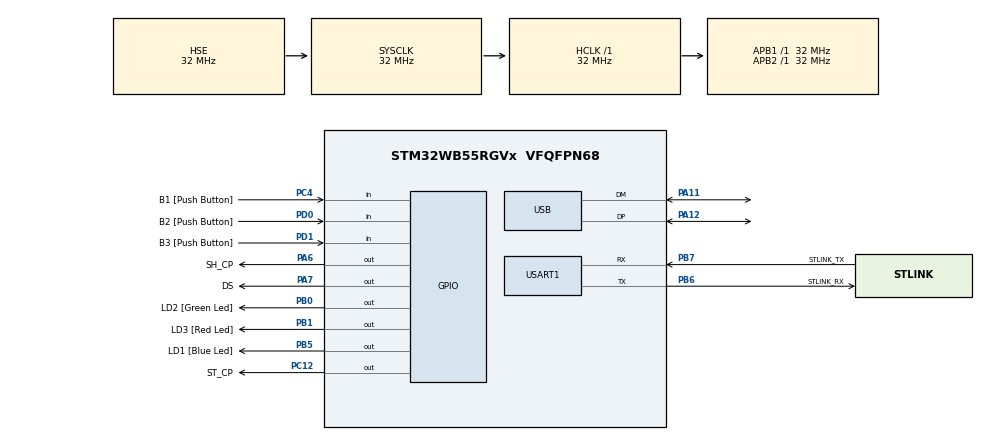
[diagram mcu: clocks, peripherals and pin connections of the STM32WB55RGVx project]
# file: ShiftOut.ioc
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Mcu.Family=STM32WB
Mcu.Name=STM32WB55RGVx
Mcu.Package=VFQFPN68
NVIC.PriorityGroup=NVIC_PRIORITYGROUP_4
NVIC.TIM1_UP_TIM16_IRQn=true\:0\:0\:false\:false\:true\:false\:true
NVIC.TimeBase=TIM1_UP_TIM16_IRQn
NVIC.TimeBaseIP=TIM1
NVIC.USART1_IRQn=true\:0\:0\:false\:false\:true\:true\:true
OSC_IN.Mode=HSE-External-Oscillator
OSC_IN.Signal=RCC_OSC_IN
OSC_OUT.Mode=HSE-External-Oscillator
OSC_OUT.Signal=RCC_OSC_OUT
PA11.Mode=Device
PA11.Signal=USB_DM
PA12.Mode=Device
PA12.Signal=USB_DP
PA13.GPIO_Label=JTMS
PA13.Mode=Trace_Asynchronous_SW
PA13.Signal=SYS_JTMS-SWDIO
PA14.GPIO_Label=JTCK
PA14.Mode=Trace_Asynchronous_SW
PA14.Signal=SYS_JTCK-SWCLK
PA6.GPIO_Label=SH_CP
PA6.Signal=GPIO_Output
PA7.GPIO_Label=DS
PA7.Signal=GPIO_Output
PB0.GPIO_Label=LD2 [Green Led]
PB0.Signal=GPIO_Output
PB1.GPIO_Label=LD3 [Red Led]
PB1.Signal=GPIO_Output
PB3.GPIO_Label=JTDO
PB3.Mode=Trace_Asynchronous_SW
PB3.Signal=SYS_JTDO-SWO
PB5.GPIO_Label=LD1 [Blue Led]
PB5.Signal=GPIO_Output
PB6.GPIO_Label=STLINK_RX
PB6.Mode=Asynchronous
PB6.Signal=USART1_TX
PB7.GPIO_Label=STLINK_TX
PB7.Mode=Asynchronous
PB7.Signal=USART1_RX
PC12.GPIO_Label=ST_CP
PC12.Signal=GPIO_Output
PC13.Mode=SYS_WakeUp1
PC13.Signal=SYS_WKUP2
PC14-OSC32_IN.Mode=LSE-External-Oscillator
PC14-OSC32_IN.Signal=RCC_OSC32_IN
PC15-OSC32_OUT.Mode=LSE-External-Oscillator
PC15-OSC32_OUT.Signal=RCC_OSC32_OUT
PC4.GPIO_Label=B1 [Push Button]
PC4.Signal=GPIO_Input
PD0.GPIO_Label=B2 [Push Button]
PD0.Signal=GPIO_Input
PD1.GPIO_Label=B3 [Push Button]
PD1.Signal=GPIO_Input
ProjectManager.HeapSize=0x200
ProjectManager.StackSize=0x400
ProjectManager.TargetToolchain=TrueSTUDIO
RCC.ADCFreq_Value=48000000
RCC.AHBFreq_Value=32000000
RCC.APB1Freq_Value=32000000
RCC.APB1TimFreq_Value=32000000
RCC.APB2Freq_Value=32000000
RCC.APB2TimFreq_Value=32000000
RCC.APB3Freq_Value=16000000
RCC.CortexFreq_Value=32000000
RCC.HCLKFreq_Value=32000000
RCC.HSE_VALUE=32000000
RCC.HSI48_VALUE=48000000
RCC.HSI_VALUE=16000000
RCC.PLLN=32
RCC.PLLSAI1N=24
RCC.SMPSCLockSelectionVirtual=RCC_SMPSCLKSOURCE_HSI
RCC.SYSCLKFreq_VALUE=32000000
RCC.SYSCLKSource=RCC_SYSCLKSOURCE_HSE
RCC.USBFreq_Value=48000000
RCC.VCOOutputFreq_Value=128000000
USART1.AutoBaudRateEnableParam=UART_ADVFEATURE_AUTOBAUDRATE_DISABLE
USART1.VirtualMode-Asynchronous=VM_ASYNC
USART1.WordLength=WORDLENGTH_8B
VP_SYS_VS_tim1.Mode=TIM1
board=P-NUCLEO-WB55-Nucleo

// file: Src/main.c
/* USER CODE BEGIN Header */
/**
 ******************************************************************************
 * @file           : main.c
 * @brief          : Main program body
 ******************************************************************************
 * @attention
 *
 * <h2><center>&copy; Copyright (c) 2019 STMicroelectronics.
 * All rights reserved.</center></h2>
 *
 * This software component is licensed by ST under BSD 3-Clause license,
 * the "License"; You may not use this file except in compliance with the
 * License. You may obtain a copy of the License at:
 *                        opensource.org/licenses/BSD-3-Clause
 *
 ******************************************************************************
 */
/* USER CODE END Header */

#include "main.h"

/* USER CODE BEGIN Includes */
#include <stdio.h>
#include <stdlib.h>
/* USER CODE END Includes */

/* USER CODE BEGIN PD */

#define HIGH		GPIO_PIN_SET
#define LOW     GPIO_PIN_RESET

/* USER CODE END PD */

UART_HandleTypeDef huart1;

PCD_HandleTypeDef hpcd_USB_FS;

/* USER CODE BEGIN PV */
#define LSBFIRST 0
#define MSBFIRST 1

const int latch_pin = 8; 	// (ST_CP)
const int clock_pin = 12;	// (SH_CP)
const int data_pin = 11;	// (DS)

/* USER CODE END PV */

void SystemClock_Config(void);
static void MX_GPIO_Init(void);
static void MX_USART1_UART_Init(void);
static void MX_USB_PCD_Init(void);

/* USER CODE BEGIN 0 */

int __io_putchar(int ch) {
	uint8_t c[1];
	c[0] = ch & 0x00FF;
	HAL_UART_Transmit(&huart1, &*c, 1, 10);
	return ch;
}

struct digitalPinEntry {
	GPIO_TypeDef * port;
	uint16_t pin;
};

struct digitalPinEntry arduinoPinTable[] = { { GPIOA, GPIO_PIN_3 },				// D0
		{ GPIOA, GPIO_PIN_2 },							// D1
		{ GPIOC, GPIO_PIN_6 },							// D2
		{ GPIOA, GPIO_PIN_10 },							// D3
		{ GPIOC, GPIO_PIN_10 }, 						// D4
		{ GPIOA, GPIO_PIN_15 },							// D5
		{ GPIOA, GPIO_PIN_8 },							// D6
		{ GPIOC, GPIO_PIN_13 },							// D7

		{ GPIOC, GPIO_PIN_12 },							// D8
		{ GPIOA, GPIO_PIN_9 },							// D9
		{ GPIOA, GPIO_PIN_4 },							// D10
		{ GPIOA, GPIO_PIN_7 },							// D11
		{ GPIOA, GPIO_PIN_6 },							// D12
		{ GPIOA, GPIO_PIN_5 },							// D13
		{ GPIOB, GPIO_PIN_9 },							// D14
		{ GPIOB, GPIO_PIN_8 },							// D15
		};

void digitalWrite(int pin, int value) {
	HAL_GPIO_WritePin(arduinoPinTable[pin].port, arduinoPinTable[pin].pin, value);
}

/**
 * Shift data out to the shift-register
 *
 * Uses globals 'data_pin' and 'clock_pin'
 */
void shiftOut(uint8_t bitOrder, uint8_t val) {
	uint8_t i;

	for (i = 0; i < 8; i++) {
		if (bitOrder == LSBFIRST)
			digitalWrite(data_pin, !!(val & (1 << i)));
		else
			digitalWrite(data_pin, !!(val & (1 << (7 - i))));

		digitalWrite(clock_pin, HIGH);
		digitalWrite(clock_pin, LOW);
	}
}

void write_value(uint8_t value) {
	digitalWrite(latch_pin, LOW);
	shiftOut(MSBFIRST, value);
	digitalWrite(latch_pin, HIGH);
}

void shiftUp() {
	int i;
	int count = rand() % 10 + 4;
	LOG_MSG("%s\n", "shiftUp()");
	for (int x = 0 ; x < count ; x++) {
		for (i = 0; i <= 7; i++) {
			uint8_t m = (1L << i);
			write_value(m);
			HAL_Delay(100);
		}
	}
}

void shiftDown() {
	int i;
	int count = rand() % 10 + 4;
	LOG_MSG("%s\n", "shiftDown()");

	for (int x = 0 ; x < count ; x++) {
		for (i = 7; i >=  0; i--) {
			uint8_t m = (1L << i);
			write_value(m);
			HAL_Delay(100);
		}
	}
}

void randomPattern() {
	int count = (rand() % 10) + 10;
	int delay = 100 + (rand() % 8) * 100;
	LOG_MSG("%s\n", "randomPattern()");

	for (int i = 0; i < count; i++) {
		int pattern = rand() % 255;
		write_value(pattern);
		HAL_Delay(delay);
	}
}

void pinchIn() {
	int count = rand() % 10 + 4;
	LOG_MSG("%s\n", "pinchIn()");

	for (int j = 0; j < count; j++) {
		for (int i = 0; i < 4; i++) {
			uint8_t mask = (1L << (7 - i)) | ((1L << i));
			write_value(mask);
			HAL_Delay(100);
		}
	}
}
void pinchOut() {
	int count = rand() % 10 + 4;
	LOG_MSG("%s\n", "pinchOut()");

	for (int j = 0; j < count; j++) {
		for (int i = 3; i >= 0 ; i--) {
			uint8_t mask = (1L << (7 - i)) | ((1L << i));
			write_value(mask);
			HAL_Delay(100);
		}
	}
}

void displaySequence(int * data, size_t count) {
	int delay = 100 + (rand() % 8) * 100;
	int repeat = rand() % 10 + 4;
	for (int j = 0; j < repeat; j++) {
		for (int i = 0 ; i < count ; i++) {
			write_value(data[i]);
			HAL_Delay(delay);
		}
	}
}

void fillOut() {
	LOG_MSG("%s\n", "fillOut()");
	int masks[] = {
		0x18, // 00011000
		0x3c, // 00111100
		0x7e, // 01111110
		0xff, // 11111111
	};

	displaySequence(masks, sizeof(masks)/sizeof(int));
}

void fillIn() {
	LOG_MSG("%s\n", "fillIn()");

	int masks[] = {
		0x81, // 10000001
		0xc3, // 11000011
		0xe7, // 11100111
		0xff, // 11111111
	};
	displaySequence(masks, sizeof(masks)/sizeof(int));
}

/* USER CODE END 0 */

int main(void)
{

  /* MCU Configuration--------------------------------------------------------*/

  /* Reset of all peripherals, Initializes the Flash interface and the Systick. */
  HAL_Init();

  /* Configure the system clock */
  SystemClock_Config();

  /* Initialize all configured peripherals */
  MX_GPIO_Init();
  MX_USART1_UART_Init();
  MX_USB_PCD_Init();

  /* Infinite loop */
  /* USER CODE BEGIN WHILE */
	LOG_MSG("%s\n", "Starting main loop...");

	while (1) {
    /* USER CODE END WHILE */

    /* USER CODE BEGIN 3 */

		int c = rand() % 7;

		switch (c) {
		case 0:
			shiftUp();
			break;
		case 1:
			randomPattern();
			break;
		case 2:
			pinchIn();
			break;
		case 3:
			pinchOut();
			break;
		case 4:
			shiftDown();
			break;
		case 5:
			fillIn();
			break;
		case 6:
			fillOut();
			break;
		}
	}
  /* USER CODE END 3 */
}

void SystemClock_Config(void)
{
  RCC_OscInitTypeDef RCC_OscInitStruct = {0};
  RCC_ClkInitTypeDef RCC_ClkInitStruct = {0};
  RCC_PeriphCLKInitTypeDef PeriphClkInitStruct = {0};

  /** Macro to configure the PLL multiplication factor
  */
  __HAL_RCC_PLL_PLLM_CONFIG(RCC_PLLM_DIV1);
  /** Macro to configure the PLL clock source
  */
  __HAL_RCC_PLL_PLLSOURCE_CONFIG(RCC_PLLSOURCE_MSI);
  /** Configure LSE Drive Capability
  */
  __HAL_RCC_LSEDRIVE_CONFIG(RCC_LSEDRIVE_LOW);
  /** Configure the main internal regulator output voltage
  */
  __HAL_PWR_VOLTAGESCALING_CONFIG(PWR_REGULATOR_VOLTAGE_SCALE1);
  /** Initializes the CPU, AHB and APB busses clocks
  */
  RCC_OscInitStruct.OscillatorType = RCC_OSCILLATORTYPE_HSI|RCC_OSCILLATORTYPE_HSE
                              |RCC_OSCILLATORTYPE_LSE|RCC_OSCILLATORTYPE_MSI;
  RCC_OscInitStruct.HSEState = RCC_HSE_ON;
  RCC_OscInitStruct.LSEState = RCC_LSE_ON;
  RCC_OscInitStruct.HSIState = RCC_HSI_ON;
  RCC_OscInitStruct.MSIState = RCC_MSI_ON;
  RCC_OscInitStruct.HSICalibrationValue = RCC_HSICALIBRATION_DEFAULT;
  RCC_OscInitStruct.MSICalibrationValue = RCC_MSICALIBRATION_DEFAULT;
  RCC_OscInitStruct.MSIClockRange = RCC_MSIRANGE_6;
  RCC_OscInitStruct.PLL.PLLState = RCC_PLL_NONE;
  if (HAL_RCC_OscConfig(&RCC_OscInitStruct) != HAL_OK)
  {
    Error_Handler();
  }
  /** Configure the SYSCLKSource, HCLK, PCLK1 and PCLK2 clocks dividers
  */
  RCC_ClkInitStruct.ClockType = RCC_CLOCKTYPE_HCLK4|RCC_CLOCKTYPE_HCLK2
                              |RCC_CLOCKTYPE_HCLK|RCC_CLOCKTYPE_SYSCLK
                              |RCC_CLOCKTYPE_PCLK1|RCC_CLOCKTYPE_PCLK2;
  RCC_ClkInitStruct.SYSCLKSource = RCC_SYSCLKSOURCE_HSE;
  RCC_ClkInitStruct.AHBCLKDivider = RCC_SYSCLK_DIV1;
  RCC_ClkInitStruct.APB1CLKDivider = RCC_HCLK_DIV1;
  RCC_ClkInitStruct.APB2CLKDivider = RCC_HCLK_DIV1;
  RCC_ClkInitStruct.AHBCLK2Divider = RCC_SYSCLK_DIV1;
  RCC_ClkInitStruct.AHBCLK4Divider = RCC_SYSCLK_DIV1;

  if (HAL_RCC_ClockConfig(&RCC_ClkInitStruct, FLASH_LATENCY_1) != HAL_OK)
  {
    Error_Handler();
  }
  /** Initializes the peripherals clocks
  */
  PeriphClkInitStruct.PeriphClockSelection = RCC_PERIPHCLK_SMPS|RCC_PERIPHCLK_USART1
                              |RCC_PERIPHCLK_USB;
  PeriphClkInitStruct.PLLSAI1.PLLN = 24;
  PeriphClkInitStruct.PLLSAI1.PLLP = RCC_PLLP_DIV2;
  PeriphClkInitStruct.PLLSAI1.PLLQ = RCC_PLLQ_DIV2;
  PeriphClkInitStruct.PLLSAI1.PLLR = RCC_PLLR_DIV2;
  PeriphClkInitStruct.PLLSAI1.PLLSAI1ClockOut = RCC_PLLSAI1_USBCLK;
  PeriphClkInitStruct.Usart1ClockSelection = RCC_USART1CLKSOURCE_PCLK2;
  PeriphClkInitStruct.UsbClockSelection = RCC_USBCLKSOURCE_PLLSAI1;
  PeriphClkInitStruct.SmpsClockSelection = RCC_SMPSCLKSOURCE_HSI;
  PeriphClkInitStruct.SmpsDivSelection = RCC_SMPSCLKDIV_RANGE1;

  if (HAL_RCCEx_PeriphCLKConfig(&PeriphClkInitStruct) != HAL_OK)
  {
    Error_Handler();
  }
  /** Enable MSI Auto calibration
  */
  HAL_RCCEx_EnableMSIPLLMode();
}

static void MX_USART1_UART_Init(void)
{

  huart1.Instance = USART1;
  huart1.Init.BaudRate = 115200;
  huart1.Init.WordLength = UART_WORDLENGTH_8B;
  huart1.Init.StopBits = UART_STOPBITS_1;
  huart1.Init.Parity = UART_PARITY_NONE;
  huart1.Init.Mode = UART_MODE_TX_RX;
  huart1.Init.HwFlowCtl = UART_HWCONTROL_NONE;
  huart1.Init.OverSampling = UART_OVERSAMPLING_16;
  huart1.Init.OneBitSampling = UART_ONE_BIT_SAMPLE_DISABLE;
  huart1.Init.ClockPrescaler = UART_PRESCALER_DIV1;
  huart1.AdvancedInit.AdvFeatureInit = UART_ADVFEATURE_NO_INIT;
  if (HAL_UART_Init(&huart1) != HAL_OK)
  {
    Error_Handler();
  }
  if (HAL_UARTEx_SetTxFifoThreshold(&huart1, UART_TXFIFO_THRESHOLD_1_8) != HAL_OK)
  {
    Error_Handler();
  }
  if (HAL_UARTEx_SetRxFifoThreshold(&huart1, UART_RXFIFO_THRESHOLD_1_8) != HAL_OK)
  {
    Error_Handler();
  }
  if (HAL_UARTEx_DisableFifoMode(&huart1) != HAL_OK)
  {
    Error_Handler();
  }

}

static void MX_USB_PCD_Init(void)
{

  hpcd_USB_FS.Instance = USB;
  hpcd_USB_FS.Init.dev_endpoints = 8;
  hpcd_USB_FS.Init.speed = PCD_SPEED_FULL;
  hpcd_USB_FS.Init.phy_itface = PCD_PHY_EMBEDDED;
  hpcd_USB_FS.Init.Sof_enable = DISABLE;
  hpcd_USB_FS.Init.low_power_enable = DISABLE;
  hpcd_USB_FS.Init.lpm_enable = DISABLE;
  hpcd_USB_FS.Init.battery_charging_enable = DISABLE;
  if (HAL_PCD_Init(&hpcd_USB_FS) != HAL_OK)
  {
    Error_Handler();
  }

}

static void MX_GPIO_Init(void)
{
  GPIO_InitTypeDef GPIO_InitStruct = {0};

  /* GPIO Ports Clock Enable */
  __HAL_RCC_GPIOC_CLK_ENABLE();
  __HAL_RCC_GPIOA_CLK_ENABLE();
  __HAL_RCC_GPIOB_CLK_ENABLE();
  __HAL_RCC_GPIOD_CLK_ENABLE();

  /*Configure GPIO pin Output Level */
  HAL_GPIO_WritePin(GPIOA, SH_CP_Pin|DS_Pin, GPIO_PIN_RESET);

  /*Configure GPIO pin Output Level */
  HAL_GPIO_WritePin(GPIOB, LD2_Pin|LD3_Pin|LD1_Pin, GPIO_PIN_RESET);

  /*Configure GPIO pin Output Level */
  HAL_GPIO_WritePin(ST_CP_GPIO_Port, ST_CP_Pin, GPIO_PIN_RESET);

  /*Configure GPIO pins : SH_CP_Pin DS_Pin */
  GPIO_InitStruct.Pin = SH_CP_Pin|DS_Pin;
  GPIO_InitStruct.Mode = GPIO_MODE_OUTPUT_PP;
  GPIO_InitStruct.Pull = GPIO_NOPULL;
  GPIO_InitStruct.Speed = GPIO_SPEED_FREQ_LOW;
  HAL_GPIO_Init(GPIOA, &GPIO_InitStruct);

  /*Configure GPIO pin : B1_Pin */
  GPIO_InitStruct.Pin = B1_Pin;
  GPIO_InitStruct.Mode = GPIO_MODE_INPUT;
  GPIO_InitStruct.Pull = GPIO_NOPULL;
  HAL_GPIO_Init(B1_GPIO_Port, &GPIO_InitStruct);

  /*Configure GPIO pins : LD2_Pin LD3_Pin LD1_Pin */
  GPIO_InitStruct.Pin = LD2_Pin|LD3_Pin|LD1_Pin;
  GPIO_InitStruct.Mode = GPIO_MODE_OUTPUT_PP;
  GPIO_InitStruct.Pull = GPIO_NOPULL;
  GPIO_InitStruct.Speed = GPIO_SPEED_FREQ_LOW;
  HAL_GPIO_Init(GPIOB, &GPIO_InitStruct);

  /*Configure GPIO pin : ST_CP_Pin */
  GPIO_InitStruct.Pin = ST_CP_Pin;
  GPIO_InitStruct.Mode = GPIO_MODE_OUTPUT_PP;
  GPIO_InitStruct.Pull = GPIO_NOPULL;
  GPIO_InitStruct.Speed = GPIO_SPEED_FREQ_LOW;
  HAL_GPIO_Init(ST_CP_GPIO_Port, &GPIO_InitStruct);

  /*Configure GPIO pins : B2_Pin B3_Pin */
  GPIO_InitStruct.Pin = B2_Pin|B3_Pin;
  GPIO_InitStruct.Mode = GPIO_MODE_INPUT;
  GPIO_InitStruct.Pull = GPIO_NOPULL;
  HAL_GPIO_Init(GPIOD, &GPIO_InitStruct);

}

void HAL_TIM_PeriodElapsedCallback(TIM_HandleTypeDef *htim)
{
  if (htim->Instance == TIM1) {
    HAL_IncTick();
  }
}

void Error_Handler(void)
{
}

/************************ (C) COPYRIGHT STMicroelectronics *****END OF FILE****/
